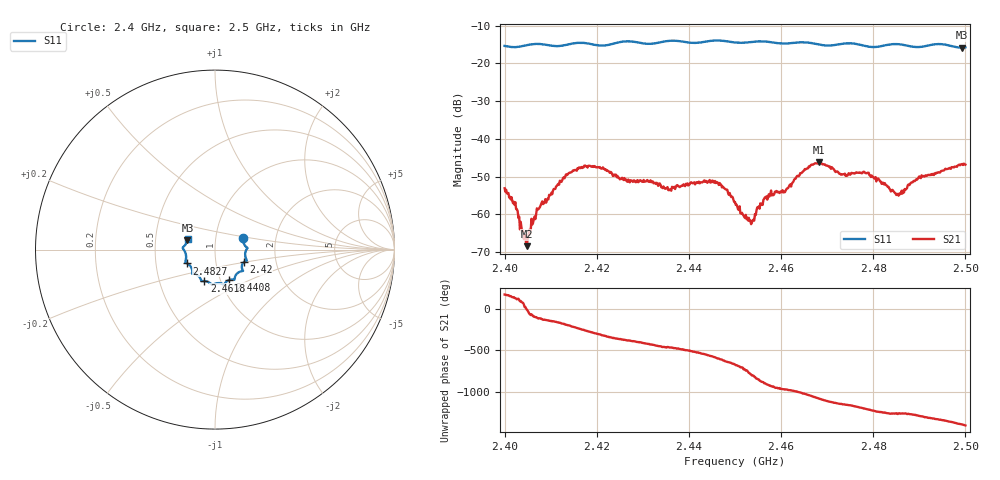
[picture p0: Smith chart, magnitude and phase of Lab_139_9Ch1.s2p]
# Hz S RI R 50
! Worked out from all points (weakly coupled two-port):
!   601 points, 2.4 GHz to 2.5 GHz, reference 50 ohm
!   highest |S21| = -46.17 dB at 2.4682 GHz (marker M1); lowest = -68.4 dB at 2.4048 GHz (marker M2)
!   lowest |S11| = -15.8 dB at 2.4993 GHz (marker M3), VSWR 1.39, Z = 36.5 + j3.85 ohm
!   |S11| at or under -10 dB: start of sweep to end of sweep
!   S12 and S22 are empty: the file has one direction only
!   S11 on the Smith chart (normalised r, x): 2.4 GHz: 1.36, +0.18; 2.42 GHz: 1.36, -0.20; 2.4408 GHz: 1.10, -0.39; 2.4618 GHz: 0.84, -0.30; 2.4827 GHz: 0.72, -0.11; 2.5 GHz: 0.73, +0.09
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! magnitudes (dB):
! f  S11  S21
! 2.4 GHz  -15.4  -53.1
! 2.4023 GHz  -15.7  -56.7
! 2.4043 GHz  -15.3  -65.9
! 2.4048 GHz  -15.2  -68.4
! 2.4077 GHz  -14.9  -58.0
! 2.4167 GHz  -14.5  -47.4
! 2.42 GHz  -15.2  -47.5
! 2.4333 GHz  -14.5  -52.4
! 2.4408 GHz  -14.6  -51.7
! 2.4462 GHz  -13.9  -51.5
! 2.45 GHz  -14.5  -56.7
! 2.4537 GHz  -14.3  -62.1
! 2.4568 GHz  -14.2  -55.2
! 2.4618 GHz  -14.7  -52.2
! 2.4667 GHz  -14.6  -46.8
! 2.4682 GHz  -15.0  -46.2
! 2.4827 GHz  -15.2  -52.1
! 2.4833 GHz  -15.0  -52.7
! 2.4855 GHz  -14.9  -55.0
! 2.4903 GHz  -15.6  -50.4
! 2.4993 GHz  -15.8  -46.6
! 2.5 GHz  -15.7  -46.8
